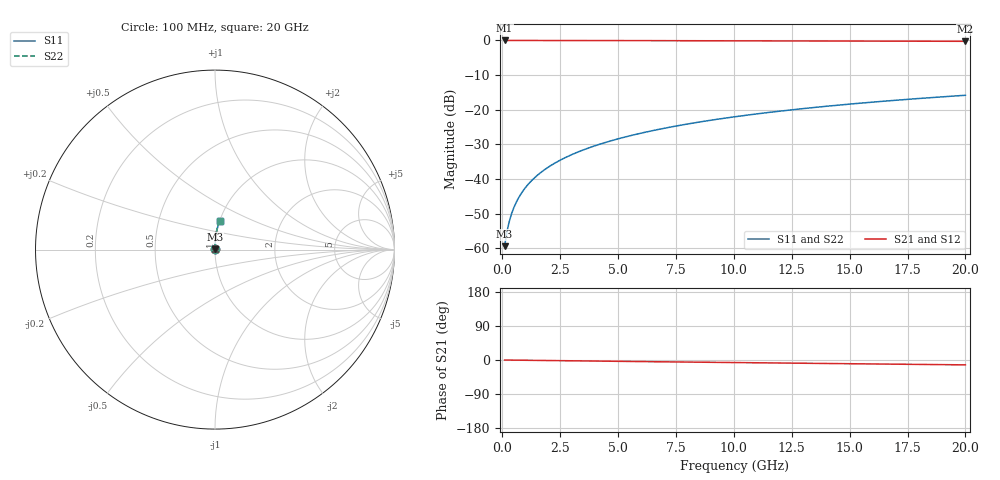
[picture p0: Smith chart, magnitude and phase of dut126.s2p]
! Touchstone file exported from HFSS 2024.1.0
!  File:  C:/UserFiles/LocalFiles/RDL_TSV_Batchsim/temp_RDL_bottom_126_1778696264.aedt
!  Generated:  02:20:38 AM May 14, 2026
!  Design:  RDL_bottom
!  Project:  temp_RDL_bottom_126_1778696264
!  Setup:  Setup1
!  Solution:  Sweep
! Variables:
!  dtsv = 10.80580581um
!  hbump = 3um
!  htsv = 92.5um
!  ldown = 126.58um
!  lrdl = 100um
!  p = 40
!  p1 = 58.38um
!  rhole = 1um
!  t = 450um
!  tdown = 4um
!  trdl = 3.915915916um
!  wdown = 20.83um
!  wrdl = 20um
# GHz S MA R 50.000000
! Terminal data exported
! Port[1] = RDL1_T1
! Port[2] = RDL1_T2
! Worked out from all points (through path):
!   200 points, 100 MHz to 20 GHz, reference 50 ohm
!   highest |S21| = -0.01 dB at 100 MHz (marker M1); lowest = -0.3 dB at 20 GHz (marker M2)
!   group delay of S21, straight-line fit = 1.77 ps
!   lowest |S11| = -59.4 dB at 100 MHz (marker M3), VSWR 1.00, Z = 50.1 + j0.0783 ohm
!   |S11| at or under -10 dB: start of sweep to end of sweep
!   |S22| runs from -59.4 to -15.8 dB; largest |S21 - S12| = 2e-15
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0.1  0.001068 47.1  0.9993 -0.1  0.9993 -0.1  0.001068 47.1
! Gamma 0 0 0 0
! Port Impedance 50 0 50 0
0.2  0.001721 64.0  0.9992 -0.1  0.9992 -0.1  0.001721 64.0
0.3  0.002423 71.1  0.9992 -0.2  0.9992 -0.2  0.002423 71.1
0.4  0.003136 75.1  0.9992 -0.3  0.9992 -0.3  0.003136 75.1
0.5  0.003853 77.7  0.9991 -0.4  0.9991 -0.4  0.003853 77.7
0.7  0.005299 81.0  0.9991 -0.5  0.9991 -0.5  0.005299 81.0
0.8  0.006027 82.0  0.999 -0.6  0.999 -0.6  0.006027 82.0
1  0.007489 83.6  0.9989 -0.7  0.9989 -0.7  0.007489 83.6
1.2  0.008959 84.7  0.9988 -0.9  0.9988 -0.9  0.008959 84.7
1.4  0.01043 85.4  0.9987 -1.0  0.9987 -1.0  0.01043 85.4
1.7  0.01266 86.3  0.9986 -1.2  0.9986 -1.2  0.01266 86.3
2  0.01489 86.9  0.9984 -1.4  0.9984 -1.4  0.01489 86.9
2.7  0.02015 87.8  0.9978 -1.9  0.9978 -1.9  0.02015 87.8
3.5  0.02624 88.3  0.9969 -2.5  0.9969 -2.5  0.02624 88.3
4.2  0.03164 88.5  0.9961 -3.0  0.9961 -3.0  0.03165 88.5
5  0.03791 88.6  0.995 -3.5  0.995 -3.5  0.03791 88.6
6.8  0.0523 88.4  0.9923 -4.7  0.9923 -4.7  0.0523 88.4
8.3  0.06457 87.8  0.99 -5.7  0.99 -5.7  0.06457 87.8
10.1  0.07948 86.9  0.9872 -6.8  0.9872 -6.8  0.07948 86.9
13.4  0.107 84.8  0.9821 -8.8  0.9821 -8.8  0.107 84.8
16.7  0.1344 82.6  0.9768 -10.9  0.9768 -10.9  0.1344 82.6
20  0.1614 80.3  0.9714 -12.8  0.9714 -12.8  0.1614 80.3
